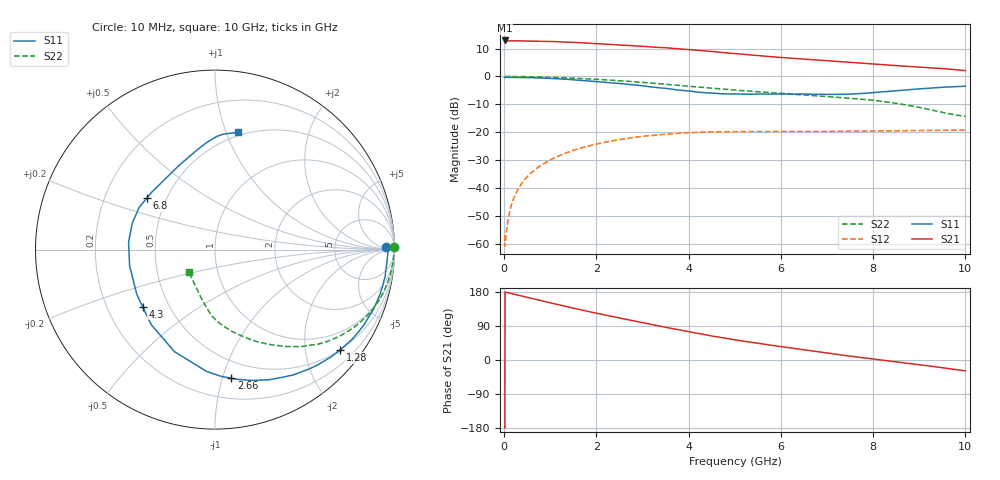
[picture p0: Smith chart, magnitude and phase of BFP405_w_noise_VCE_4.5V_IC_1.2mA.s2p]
! Infineon Technologies  Discrete & RF Semiconductors
! BFP405
! VCE =  4.5 V,  IC =  1.2 mA
! Common Emitter S-Parameters:  Jan 2016
# GHz  S  MA  R  50
!  f  S11  S21  S12  S22
! GHz  MAG  ANG  MAG  ANG  MAG  ANG  MAG  ANG
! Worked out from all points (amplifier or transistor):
!   233 points, 10 MHz to 10 GHz, reference 50 ohm
!   highest |S21| = 12.9 dB at 10 MHz (marker M1)
!   |S21| within 3 dB of that: start of sweep to 3.779 GHz
!   unconditionally stable (mu >= 1): 14.68 MHz to 15.44 MHz; 5.053 GHz to end of sweep
!   at 200 MHz: K = 0.13, MSG = 28.4 dB, |S12| = -44.0 dB
!   at 1.74 GHz: K = 0.23, MSG = 18.7 dB, |S12| = -25.4 dB
!   at 10 GHz: K = 1.88, MAG = 5.2 dB, |S12| = -19.2 dB
!   lowest NFmin = 0.75 dB at 900 MHz
!   S11 on the Smith chart (normalised r, x): 10 MHz: 37, +12; 1.28 GHz: 0.50, -2.78; 2.66 GHz: 0.36, -1.07; 4.3 GHz: 0.36, -0.31; 6.8 GHz: 0.39, +0.29; 10 GHz: 0.47, +1.10
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0.01  0.952 0.9  4.412 -177.3  0.0014 -41.2  1 0.8
0.015  0.9582 0.3  4.374 -179.1  0.0009 -6.7  0.9964 0.6
0.02  0.9644 -0.2  4.341 179.0  0.001 45.8  0.9929 0.3
0.085  0.9619 -2.5  4.338 177.3  0.0027 78.2  0.9967 -1.0
0.155  0.9604 -4.5  4.337 175.5  0.0049 80.8  0.9951 -2.4
0.38  0.9562 -11.4  4.334 169.0  0.012 81.8  0.9899 -5.7
0.8  0.9352 -24.0  4.281 156.8  0.0254 76.4  0.9754 -12.1
1.28  0.8945 -38.6  4.147 143.1  0.0405 68.5  0.9463 -19.3
1.68  0.8498 -51.0  4.005 132.0  0.0523 61.6  0.9143 -25.0
2.2  0.7847 -67.6  3.793 118.4  0.0663 52.7  0.8667 -31.9
2.66  0.7231 -82.7  3.6 106.9  0.0771 45.0  0.8195 -37.9
3  0.6794 -94.1  3.466 98.5  0.0842 39.5  0.7825 -42.2
3.4  0.6202 -107.9  3.294 88.8  0.0905 32.9  0.7346 -47.0
4  0.5487 -130.3  3.039 74.6  0.0979 24.0  0.6661 -54.1
4.3  0.5132 -141.8  2.884 68.1  0.0997 19.9  0.6342 -57.4
4.5  0.5022 -150.1  2.803 63.4  0.1012 17.2  0.6141 -59.7
5.1  0.4812 -172.3  2.523 51.3  0.1024 10.4  0.5604 -65.9
6  0.484 162.2  2.186 35.3  0.1021 3.1  0.4959 -73.8
6.8  0.4764 143.2  1.96 21.8  0.1027 -1.5  0.446 -81.0
7.6  0.4859 122.6  1.753 8.7  0.1042 -5.4  0.3984 -88.4
8.4  0.5441 104.1  1.578 -3.4  0.1057 -9.3  0.3382 -96.7
10  0.6656 79.1  1.269 -28.6  0.1093 -15.1  0.1922 -139.8
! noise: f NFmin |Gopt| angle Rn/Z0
0.9  0.75  0.69  15  0.52
1.8  1.17  0.55  31  0.46
2.4  1.43  0.45  42  0.42
3  1.52  0.46  56  0.39
4  1.76  0.33  84  0.29
5  2.09  0.3  121  0.2
